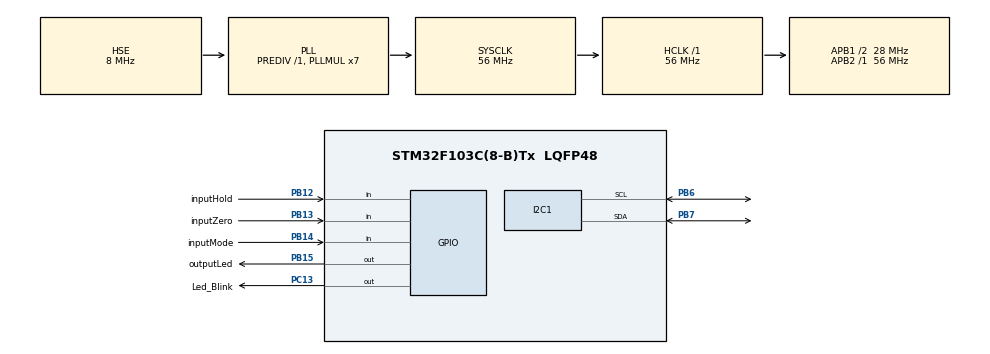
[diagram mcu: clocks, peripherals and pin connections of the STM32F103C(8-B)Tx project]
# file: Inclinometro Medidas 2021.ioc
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I2C1.I2C_Mode=I2C_Fast
IWDG.Reload=20
Mcu.Family=STM32F1
Mcu.Name=STM32F103C(8-B)Tx
Mcu.Package=LQFP48
NVIC.PriorityGroup=NVIC_PRIORITYGROUP_4
PA13.Mode=Serial_Wire
PA13.Signal=SYS_JTMS-SWDIO
PA14.Mode=Serial_Wire
PA14.Signal=SYS_JTCK-SWCLK
PB12.GPIO_Label=inputHold
PB12.GPIO_PuPd=GPIO_PULLDOWN
PB12.Signal=GPIO_Input
PB13.GPIO_Label=inputZero
PB13.GPIO_PuPd=GPIO_PULLDOWN
PB13.Signal=GPIO_Input
PB14.GPIO_Label=inputMode
PB14.GPIO_PuPd=GPIO_PULLDOWN
PB14.Signal=GPIO_Input
PB15.GPIO_Label=outputLed
PB15.Signal=GPIO_Output
PB6.Mode=I2C
PB6.Signal=I2C1_SCL
PB7.Mode=I2C
PB7.Signal=I2C1_SDA
PC13-TAMPER-RTC.GPIO_Label=Led_Blink
PC13-TAMPER-RTC.Signal=GPIO_Output
PD0-OSC_IN.Mode=HSE-External-Oscillator
PD0-OSC_IN.Signal=RCC_OSC_IN
PD1-OSC_OUT.Mode=HSE-External-Oscillator
PD1-OSC_OUT.Signal=RCC_OSC_OUT
ProjectManager.HeapSize=0x200
ProjectManager.StackSize=0x400
ProjectManager.TargetToolchain=STM32CubeIDE
RCC.ADCPresc=RCC_ADCPCLK2_DIV4
RCC.AHBFreq_Value=56000000
RCC.APB1CLKDivider=RCC_HCLK_DIV2
RCC.APB1Freq_Value=28000000
RCC.APB1TimFreq_Value=56000000
RCC.APB2Freq_Value=56000000
RCC.APB2TimFreq_Value=56000000
RCC.HCLKFreq_Value=56000000
RCC.PLLMUL=RCC_PLL_MUL7
RCC.PLLSourceVirtual=RCC_PLLSOURCE_HSE
RCC.SYSCLKFreq_VALUE=56000000
RCC.SYSCLKSource=RCC_SYSCLKSOURCE_PLLCLK
RCC.USBFreq_Value=56000000
VP_IWDG_VS_IWDG.Mode=IWDG_Activate
board=custom

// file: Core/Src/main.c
/* USER CODE BEGIN Header */
/**
  ******************************************************************************
  * @file           : main.c
  * @brief          : Main program body
  ******************************************************************************
  * @attention
  *
  * <h2><center>&copy; Copyright (c) 2020 STMicroelectronics.
  * All rights reserved.</center></h2>
  *
  * This software component is licensed by ST under BSD 3-Clause license,
  * the "License"; You may not use this file except in compliance with the
  * License. You may obtain a copy of the License at:
  *                        opensource.org/licenses/BSD-3-Clause
  *
  ******************************************************************************
  */
/* USER CODE END Header */

/* USER CODE BEGIN Includes */
/* Includes ------------------------------------------------------------------*/
#include "main.h"
#include "../planificador/miniplanificador.h"
#include "mpu_6050.h"
#include "ssd1306.h"
#include "task.h"
#include "eeprom.h"
#include "eeprom_21.h"
/* USER CODE END Includes */

/* USER CODE BEGIN PTD */
#define dwt_init() 			{DWT->CTRL |= DWT_CTRL_CYCCNTENA_Msk; DWT->CYCCNT=0;}
#define dwt_reset() 		{DWT->CYCCNT=0;}
#define dwt_read() 			(DWT->CYCCNT)

// Activar tarea_iwdg
#define __SET_IWDG
/* USER CODE END PTD */

I2C_HandleTypeDef hi2c1;
#ifdef __SET_IWDG
	IWDG_HandleTypeDef hiwdg;
#endif

void SystemClock_Config(void);
static void MX_GPIO_Init(void);
#ifdef __SET_IWDG
	static void MX_IWDG_Init(void);
#endif
static void MX_I2C1_Init(void);

/* USER CODE BEGIN PFP */
void MPU6050_Init(void);
void start_timer(void);
uint32_t stop_timer(void);
uint8_t antirebote (uint8_t lectura_actual);
/* USER CODE END PFP */

/* USER CODE BEGIN 0 */

/*
 * Variables Para pasar datos entre tareas.
 */
uint32_t ticks;
/*
 * Lista de tareas del planificador.
 */
TaskStat lista_tareas[MAX_LEN_TASK_LIST];

/*
 * Prototipos de las funciones que hacen al sistema.
 */
void falla_sistema(void);
/* USER CODE END 0 */

int main(void)
{
  /* USER CODE BEGIN 1 */
	uint32_t tics_despachador;
	uint32_t wcet_todo = 0;

	/*
	 * Pongo en diez la variable que cuenta la cantidad de ticks que tienen
	 * que pasar entre llamadas del despachador.
	 */
	ticks = TICK_SISTEMA;

  /* USER CODE END 1 */

  /* MCU Configuration--------------------------------------------------------*/

  /* Reset of all peripherals, Initializes the Flash interface and the Systick. */
  HAL_Init();

  /* Configure the system clock */
  SystemClock_Config();

  /* Initialize all configured peripherals */
  dwt_init();
  MX_GPIO_Init();
  MX_I2C1_Init();

  /* USER CODE BEGIN 2 */
  MPU6050_Init();
  SSD1306_Init();
  tareas_Init();
  EEPROM_Init();
	#ifdef __SET_IWDG
		MX_IWDG_Init();
	#endif
	HAL_GPIO_WritePin(GPIOC, Led_Blink_Pin, GPIO_PIN_RESET);
	HAL_GPIO_WritePin(GPIOB, outputLed_Pin, GPIO_PIN_RESET);

/*
	 * Uso el timer 2 para el monitor del sistema.
	 */
	RCC->APB1ENR |= RCC_APB1ENR_TIM2EN;
	/*
	 * Esta línea configura el prescaler del timer
	 * que cuenta tiempo del procesador. Prestar atención.
	 */
	TIM2->PSC = (SystemCoreClock / 1000000) - 1;
	TIM2->CNT = -1;
	TIM2->CR1 |= TIM_CR1_CEN;
	TIM2->CR1 &= ~TIM_CR1_CEN;
  /*
	 * Inicializo el despachador de las tareas. Le tengo que pasar
	 * la lista de tareas, dos punteros a función: uno para inicializar
	 * un timer y otro para que me devuelva la cuenta y lo frene. El
	 * puntero restante es un puntero a función que se llama cuando
	 * hay falla en la medición de tiempos de las funciones.
	 *
	 */
	inicializar_despachador(lista_tareas,
	MAX_LEN_TASK_LIST, start_timer, stop_timer, falla_sistema);

	/*
	* Agrego las tareas que voy a utilizar.
	* Le tengo que pasar:
	* TaskStat *lista = la lista de tareas
	* void (*tarea)(void *p) = Puntero a Funcion de la implementacion de la tarea
	* void *param = El puntero a parametro pasado a la tarea
	* int offset = Cantidad de ticks que dejo pasar desde el inicio hasta que arranca a ejecutar
	* int periodo = Cada cuantos ticks del sistema esta tarea debe ejecutarse. Arranco en 1
	* int bcet = Best Case Execution Time (Mejor tiempo de ejecucion logrado por la tarea) inicializo con cero y despues lo mido bien,
	* int wcet = Worst Case Execution Time (Peor tiempo de ejecucion logrado por la tarea) inicializo con el tick de sistema y despues lo mido bien)
	*/
	agregar_tarea(lista_tareas, tarea_iwdg, NULL, 0, 1, 0, 5);			// tiempos obtenidos:
	agregar_tarea(lista_tareas, tarea_led_blinking, NULL, 0, 10, 0, 5); // et_wcet = 3
	agregar_tarea(lista_tareas, tarea_orienta, NULL, 0, 1, 0, 1100);   	// et_wcet = 987, tenia 1100
	agregar_tarea(lista_tareas, tarea_refresh, NULL, 0, 1, 0, 4100);  	// et_wcet = 3790, tenia 4100
	agregar_tarea(lista_tareas, tarea_pulsadores, NULL, 0, 10, 0, 10);  // et_wcet = 6
	agregar_tarea(lista_tareas, tarea_modos, NULL, 0, 10, 0, 250000);  	// et_wcet = 49486, tenia 55000
	agregar_tarea(lista_tareas, tarea_display, NULL, 0, 1, 0, 100000); 	// et_wcet = 8781, tenia 9500

  /* USER CODE END 2 */

  /* Infinite loop */
	while (1)
	{

	    /* USER CODE BEGIN 3 */
		dwt_reset();
		if (!ticks)
		{
			ticks = TICK_SISTEMA;
			despachar_tareas();
		}
		tics_despachador = dwt_read();
		if (tics_despachador > wcet_todo)
			wcet_todo = tics_despachador;
	}
  /* USER CODE END 3 */
}

/* USER CODE BEGIN 4 */
////////////////////////////
//	  TAREA WATCHDOG	  //
////////////////////////////
void tarea_iwdg(void *p)
{
#ifdef __SET_IWDG
	HAL_IWDG_Refresh(&hiwdg);
#endif
}

void falla_sistema(void)
{
	__disable_irq();
	while (1)
	{
		for (uint32_t i = 0; i < 100000; i++);
		HAL_GPIO_TogglePin(GPIOC, Led_Blink_Pin);
	}
}

void start_timer(void)
{
	TIM2->CNT = 0;
	TIM2->CR1 |= TIM_CR1_CEN;
}

uint32_t stop_timer(void)
{
	uint32_t ret = TIM2->CNT;
	TIM2->CR1 &= ~TIM_CR1_CEN;
	return ret;
}

/* USER CODE END 4 */

void SystemClock_Config(void)
{
  RCC_OscInitTypeDef RCC_OscInitStruct = {0};
  RCC_ClkInitTypeDef RCC_ClkInitStruct = {0};

  /** Initializes the CPU, AHB and APB busses clocks
  */
  RCC_OscInitStruct.OscillatorType = RCC_OSCILLATORTYPE_LSI|RCC_OSCILLATORTYPE_HSE;
  RCC_OscInitStruct.HSEState = RCC_HSE_ON;
  RCC_OscInitStruct.HSEPredivValue = RCC_HSE_PREDIV_DIV1;
  RCC_OscInitStruct.HSIState = RCC_HSI_ON;
  RCC_OscInitStruct.LSIState = RCC_LSI_ON;
  RCC_OscInitStruct.PLL.PLLState = RCC_PLL_ON;
  RCC_OscInitStruct.PLL.PLLSource = RCC_PLLSOURCE_HSE;
  RCC_OscInitStruct.PLL.PLLMUL = RCC_PLL_MUL7;
  if (HAL_RCC_OscConfig(&RCC_OscInitStruct) != HAL_OK)
  {
    Error_Handler();
  }
  /** Initializes the CPU, AHB and APB busses clocks
  */
  RCC_ClkInitStruct.ClockType = RCC_CLOCKTYPE_HCLK|RCC_CLOCKTYPE_SYSCLK
                              |RCC_CLOCKTYPE_PCLK1|RCC_CLOCKTYPE_PCLK2;
  RCC_ClkInitStruct.SYSCLKSource = RCC_SYSCLKSOURCE_PLLCLK;
  RCC_ClkInitStruct.AHBCLKDivider = RCC_SYSCLK_DIV1;
  RCC_ClkInitStruct.APB1CLKDivider = RCC_HCLK_DIV2;
  RCC_ClkInitStruct.APB2CLKDivider = RCC_HCLK_DIV1;

  if (HAL_RCC_ClockConfig(&RCC_ClkInitStruct, FLASH_LATENCY_2) != HAL_OK)
  {
    Error_Handler();
  }
}

static void MX_I2C1_Init(void)
{

  hi2c1.Instance = I2C1;
  hi2c1.Init.ClockSpeed = 400000;
  hi2c1.Init.DutyCycle = I2C_DUTYCYCLE_2;
  hi2c1.Init.OwnAddress1 = 0;
  hi2c1.Init.AddressingMode = I2C_ADDRESSINGMODE_7BIT;
  hi2c1.Init.DualAddressMode = I2C_DUALADDRESS_DISABLE;
  hi2c1.Init.OwnAddress2 = 0;
  hi2c1.Init.GeneralCallMode = I2C_GENERALCALL_DISABLE;
  hi2c1.Init.NoStretchMode = I2C_NOSTRETCH_DISABLE;
  if (HAL_I2C_Init(&hi2c1) != HAL_OK)
  {
    Error_Handler();
  }

}
#ifdef __SET_IWDG
static void MX_IWDG_Init(void)
{

  hiwdg.Instance = IWDG;
  hiwdg.Init.Prescaler = IWDG_PRESCALER_4;
  hiwdg.Init.Reload = 1300;
  if (HAL_IWDG_Init(&hiwdg) != HAL_OK)
  {
    Error_Handler();
  }

}
#endif

static void MX_GPIO_Init(void)
{
  GPIO_InitTypeDef GPIO_InitStruct = {0};

  /* GPIO Ports Clock Enable */
  __HAL_RCC_GPIOC_CLK_ENABLE();
  __HAL_RCC_GPIOD_CLK_ENABLE();
  __HAL_RCC_GPIOB_CLK_ENABLE();
  __HAL_RCC_GPIOA_CLK_ENABLE();

  /*Configure GPIO pin Output Level */
  HAL_GPIO_WritePin(Led_Blink_GPIO_Port, Led_Blink_Pin, GPIO_PIN_RESET);

  /*Configure GPIO pin Output Level */
  HAL_GPIO_WritePin(outputLed_GPIO_Port, outputLed_Pin, GPIO_PIN_RESET);

  /*Configure GPIO pin : Led_Blink_Pin */
  GPIO_InitStruct.Pin = Led_Blink_Pin;
  GPIO_InitStruct.Mode = GPIO_MODE_OUTPUT_PP;
  GPIO_InitStruct.Pull = GPIO_NOPULL;
  GPIO_InitStruct.Speed = GPIO_SPEED_FREQ_LOW;
  HAL_GPIO_Init(Led_Blink_GPIO_Port, &GPIO_InitStruct);

  /*Configure GPIO pins : inputHold_Pin inputZero_Pin inputMode_Pin */
  GPIO_InitStruct.Pin = inputHold_Pin|inputZero_Pin|inputMode_Pin;
  GPIO_InitStruct.Mode = GPIO_MODE_INPUT;
  GPIO_InitStruct.Pull = GPIO_PULLDOWN;
  HAL_GPIO_Init(GPIOB, &GPIO_InitStruct);

  /*Configure GPIO pin : outputLed_Pin */
  GPIO_InitStruct.Pin = outputLed_Pin;
  GPIO_InitStruct.Mode = GPIO_MODE_OUTPUT_PP;
  GPIO_InitStruct.Pull = GPIO_NOPULL;
  GPIO_InitStruct.Speed = GPIO_SPEED_FREQ_LOW;
  HAL_GPIO_Init(outputLed_GPIO_Port, &GPIO_InitStruct);

}

void Error_Handler(void)
{
}

/************************ (C) COPYRIGHT STMicroelectronics *****END OF FILE****/
